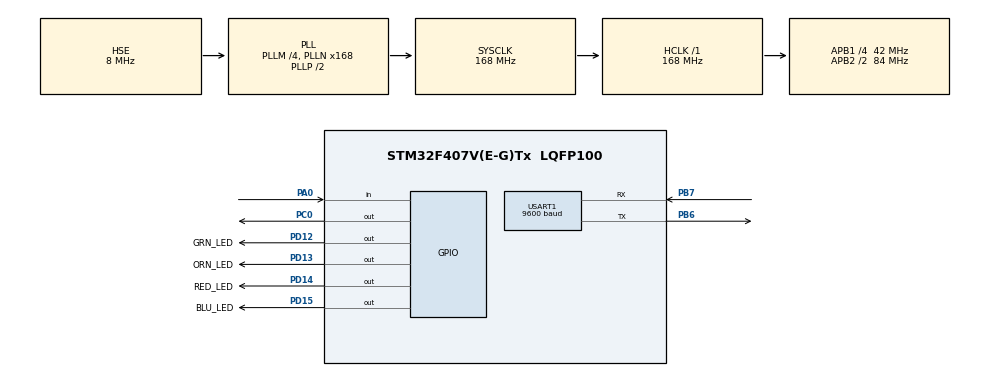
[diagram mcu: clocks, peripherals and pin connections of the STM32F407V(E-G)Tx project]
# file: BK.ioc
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Mcu.Family=STM32F4
Mcu.Name=STM32F407V(E-G)Tx
Mcu.Package=LQFP100
NVIC.PriorityGroup=NVIC_PRIORITYGROUP_0
NVIC.TIM2_IRQn=true\:0\:0\:false\:false\:true\:true\:true
NVIC.USART1_IRQn=true\:0\:0\:false\:false\:true\:true\:true
PA0-WKUP.Signal=GPIO_Input
PA13.Mode=Serial_Wire
PA13.Signal=SYS_JTMS-SWDIO
PA14.Mode=Serial_Wire
PA14.Signal=SYS_JTCK-SWCLK
PB6.Mode=Asynchronous
PB6.Signal=USART1_TX
PB7.Mode=Asynchronous
PB7.Signal=USART1_RX
PC0.Signal=GPIO_Output
PD12.GPIO_Label=GRN_LED
PD12.Signal=GPIO_Output
PD13.GPIO_Label=ORN_LED
PD13.Signal=GPIO_Output
PD14.GPIO_Label=RED_LED
PD14.Signal=GPIO_Output
PD15.GPIO_Label=BLU_LED
PD15.Signal=GPIO_Output
PH0-OSC_IN.Mode=HSE-External-Oscillator
PH0-OSC_IN.Signal=RCC_OSC_IN
PH1-OSC_OUT.Mode=HSE-External-Oscillator
PH1-OSC_OUT.Signal=RCC_OSC_OUT
ProjectManager.HeapSize=0x200
ProjectManager.StackSize=0x400
ProjectManager.TargetToolchain=STM32CubeIDE
RCC.48MHZClocksFreq_Value=48000000
RCC.AHBFreq_Value=168000000
RCC.APB1CLKDivider=RCC_HCLK_DIV4
RCC.APB1Freq_Value=42000000
RCC.APB1TimFreq_Value=84000000
RCC.APB2CLKDivider=RCC_HCLK_DIV2
RCC.APB2Freq_Value=84000000
RCC.APB2TimFreq_Value=168000000
RCC.CortexFreq_Value=168000000
RCC.HCLKFreq_Value=168000000
RCC.HSE_VALUE=8000000
RCC.HSI_VALUE=16000000
RCC.LSE_VALUE=32768
RCC.PLLM=4
RCC.PLLN=168
RCC.PLLQ=7
RCC.PLLSourceVirtual=RCC_PLLSOURCE_HSE
RCC.SYSCLKFreq_VALUE=168000000
RCC.SYSCLKSource=RCC_SYSCLKSOURCE_PLLCLK
RCC.VCOOutputFreq_Value=336000000
TIM2.Period=1
TIM2.Prescaler=42000
USART1.BaudRate=9600
USART1.VirtualMode=VM_ASYNC
VP_TIM2_VS_ClockSourceINT.Mode=Internal
board=STM32F407G-DISC1

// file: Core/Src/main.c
/* USER CODE BEGIN Header */
/**
  ******************************************************************************
  * @file           : main.c
  * @brief          : Main program body
  ******************************************************************************
  * @attention
  *
  * <h2><center>&copy; Copyright (c) 2020 STMicroelectronics.
  * All rights reserved.</center></h2>
  *
  * This software component is licensed by ST under Ultimate Liberty license
  * SLA0044, the "License"; You may not use this file except in compliance with
  * the License. You may obtain a copy of the License at:
  *                             www.st.com/SLA0044
  *
  ******************************************************************************
  */
/* USER CODE END Header */
#include "main.h"

TIM_HandleTypeDef htim2;

UART_HandleTypeDef huart1;

/* USER CODE BEGIN PV */

//------------------------------------------------------------------------------------- Utility Timer Variables:
uint16_t	B1dbTimer;
uint8_t 	B1Pressed_F;
uint8_t 	B1ActionTaken_F;
uint16_t	B1HoldTime;

// msec Timing:  Make utility timers 16-bit
uint16_t TestTimer;

// sec Timing:
uint16_t SecsCounter;

// Aging timers

//------------------------------------------------------------------------------------- UART variables
uint8_t U1_RxChar;												// Single byte received in interrupt

/* USER CODE END PV */

void SystemClock_Config(void);
static void MX_GPIO_Init(void);
static void MX_TIM2_Init(void);
static void MX_USART1_UART_Init(void);
/* USER CODE BEGIN PFP */

void CheckSWs(void);

/* USER CODE END PFP */

int main(void)
{
  /* USER CODE BEGIN 1 */

	LED_State = LED_IDLE;

  /* USER CODE END 1 */

  /* MCU Configuration--------------------------------------------------------*/

  /* Reset of all peripherals, Initializes the Flash interface and the Systick. */
  HAL_Init();

  /* Configure the system clock */
  SystemClock_Config();

  /* Initialize all configured peripherals */
  MX_GPIO_Init();
  MX_TIM2_Init();
  MX_USART1_UART_Init();
  /* USER CODE BEGIN 2 */

  HAL_TIM_Base_Start_IT(&htim2);				// Starts timer interrupt - nothing happens w/o this
  USART1->CR1 |= 1<<5;//USART1_CR1_RE;  // Enable RXNE interrupt (receiver not empty)

  /* USER CODE END 2 */

  /* Infinite loop */
  while (1)
  {

    /* USER CODE BEGIN 3 */
    //  -----------------------------------------------------------------------------------------------USER MAIN LOOP:
    // Main Loop:

		// Check for character and send message
		if( !TestTimer )
		{
			TestTimer = 1000;
			if (U1_RxChar == 'A')
				HAL_UART_Transmit(&huart1, (uint8_t*) "A-Test\r\n", 8, 100);  // Send msg
			else if (U1_RxChar == 'B')
				HAL_UART_Transmit(&huart1, (uint8_t*) "B-Test\r\n", 8, 100);  // Send msg
			else
				HAL_UART_Transmit(&huart1, (uint8_t*) "Enter A or B\r\n", 14, 100);  // Send msg
		}

		CheckSWs();
		UpdateLEDstate();

  } //  -----------------------------------------------------------------------------------------------END MAIN LOOP:
  /* USER CODE END 3 */
}

void SystemClock_Config(void)
{
  RCC_OscInitTypeDef RCC_OscInitStruct = {0};
  RCC_ClkInitTypeDef RCC_ClkInitStruct = {0};

  /** Configure the main internal regulator output voltage
  */
  __HAL_RCC_PWR_CLK_ENABLE();
  __HAL_PWR_VOLTAGESCALING_CONFIG(PWR_REGULATOR_VOLTAGE_SCALE1);
  /** Initializes the RCC Oscillators according to the specified parameters
  * in the RCC_OscInitTypeDef structure.
  */
  RCC_OscInitStruct.OscillatorType = RCC_OSCILLATORTYPE_HSE;
  RCC_OscInitStruct.HSEState = RCC_HSE_ON;
  RCC_OscInitStruct.PLL.PLLState = RCC_PLL_ON;
  RCC_OscInitStruct.PLL.PLLSource = RCC_PLLSOURCE_HSE;
  RCC_OscInitStruct.PLL.PLLM = 4;
  RCC_OscInitStruct.PLL.PLLN = 168;
  RCC_OscInitStruct.PLL.PLLP = RCC_PLLP_DIV2;
  RCC_OscInitStruct.PLL.PLLQ = 7;
  if (HAL_RCC_OscConfig(&RCC_OscInitStruct) != HAL_OK)
  {
    Error_Handler();
  }
  /** Initializes the CPU, AHB and APB buses clocks
  */
  RCC_ClkInitStruct.ClockType = RCC_CLOCKTYPE_HCLK|RCC_CLOCKTYPE_SYSCLK
                              |RCC_CLOCKTYPE_PCLK1|RCC_CLOCKTYPE_PCLK2;
  RCC_ClkInitStruct.SYSCLKSource = RCC_SYSCLKSOURCE_PLLCLK;
  RCC_ClkInitStruct.AHBCLKDivider = RCC_SYSCLK_DIV1;
  RCC_ClkInitStruct.APB1CLKDivider = RCC_HCLK_DIV4;
  RCC_ClkInitStruct.APB2CLKDivider = RCC_HCLK_DIV2;

  if (HAL_RCC_ClockConfig(&RCC_ClkInitStruct, FLASH_LATENCY_5) != HAL_OK)
  {
    Error_Handler();
  }
}

static void MX_TIM2_Init(void)
{

  TIM_ClockConfigTypeDef sClockSourceConfig = {0};
  TIM_MasterConfigTypeDef sMasterConfig = {0};

  htim2.Instance = TIM2;
  htim2.Init.Prescaler = 42000;
  htim2.Init.CounterMode = TIM_COUNTERMODE_UP;
  htim2.Init.Period = 1;
  htim2.Init.ClockDivision = TIM_CLOCKDIVISION_DIV1;
  htim2.Init.AutoReloadPreload = TIM_AUTORELOAD_PRELOAD_DISABLE;
  if (HAL_TIM_Base_Init(&htim2) != HAL_OK)
  {
    Error_Handler();
  }
  sClockSourceConfig.ClockSource = TIM_CLOCKSOURCE_INTERNAL;
  if (HAL_TIM_ConfigClockSource(&htim2, &sClockSourceConfig) != HAL_OK)
  {
    Error_Handler();
  }
  sMasterConfig.MasterOutputTrigger = TIM_TRGO_RESET;
  sMasterConfig.MasterSlaveMode = TIM_MASTERSLAVEMODE_DISABLE;
  if (HAL_TIMEx_MasterConfigSynchronization(&htim2, &sMasterConfig) != HAL_OK)
  {
    Error_Handler();
  }

}

static void MX_USART1_UART_Init(void)
{

  huart1.Instance = USART1;
  huart1.Init.BaudRate = 9600;
  huart1.Init.WordLength = UART_WORDLENGTH_8B;
  huart1.Init.StopBits = UART_STOPBITS_1;
  huart1.Init.Parity = UART_PARITY_NONE;
  huart1.Init.Mode = UART_MODE_TX_RX;
  huart1.Init.HwFlowCtl = UART_HWCONTROL_NONE;
  huart1.Init.OverSampling = UART_OVERSAMPLING_16;
  if (HAL_UART_Init(&huart1) != HAL_OK)
  {
    Error_Handler();
  }

}

static void MX_GPIO_Init(void)
{
  GPIO_InitTypeDef GPIO_InitStruct = {0};

  /* GPIO Ports Clock Enable */
  __HAL_RCC_GPIOH_CLK_ENABLE();
  __HAL_RCC_GPIOC_CLK_ENABLE();
  __HAL_RCC_GPIOA_CLK_ENABLE();
  __HAL_RCC_GPIOD_CLK_ENABLE();
  __HAL_RCC_GPIOB_CLK_ENABLE();

  /*Configure GPIO pin Output Level */
  HAL_GPIO_WritePin(GPIOC, GPIO_PIN_0, GPIO_PIN_RESET);

  /*Configure GPIO pin Output Level */
  HAL_GPIO_WritePin(GPIOD, GRN_LED_Pin|ORN_LED_Pin|RED_LED_Pin|BLU_LED_Pin, GPIO_PIN_RESET);

  /*Configure GPIO pin : PC0 */
  GPIO_InitStruct.Pin = GPIO_PIN_0;
  GPIO_InitStruct.Mode = GPIO_MODE_OUTPUT_PP;
  GPIO_InitStruct.Pull = GPIO_NOPULL;
  GPIO_InitStruct.Speed = GPIO_SPEED_FREQ_LOW;
  HAL_GPIO_Init(GPIOC, &GPIO_InitStruct);

  /*Configure GPIO pin : PA0 */
  GPIO_InitStruct.Pin = GPIO_PIN_0;
  GPIO_InitStruct.Mode = GPIO_MODE_INPUT;
  GPIO_InitStruct.Pull = GPIO_NOPULL;
  HAL_GPIO_Init(GPIOA, &GPIO_InitStruct);

  /*Configure GPIO pins : GRN_LED_Pin ORN_LED_Pin RED_LED_Pin BLU_LED_Pin */
  GPIO_InitStruct.Pin = GRN_LED_Pin|ORN_LED_Pin|RED_LED_Pin|BLU_LED_Pin;
  GPIO_InitStruct.Mode = GPIO_MODE_OUTPUT_PP;
  GPIO_InitStruct.Pull = GPIO_NOPULL;
  GPIO_InitStruct.Speed = GPIO_SPEED_FREQ_LOW;
  HAL_GPIO_Init(GPIOD, &GPIO_InitStruct);

}

/* USER CODE BEGIN 4 */

//------------------------------------------------------------------------
//
//      Function: CheckSWs()
//
//			This function checks the status of switches and provides
//      for initiating action upon both press and release.
//
//------------------------------------------------------------------------
void CheckSWs(void)
{

  // IF B1 pressed THEN   --------------------------------------------------SW1 Test
  if ( B1Pressed_F && (!B1ActionTaken_F) )
  {

    // Take PRESS action here

  	LED_Start = TRUE;				// Tell state machine to start running
  	LED_Timer = 1000;       // Set timer to 1000 ms

		// Set action taken flag so this won't keep happening
    B1ActionTaken_F = TRUE;

  // ELSE IF SW released THEN
  }
  else if ( !B1Pressed_F && (B1ActionTaken_F) )
  {

    // Take RELEASE action here

    B1ActionTaken_F = FALSE;

  // END IF
  }
}

//------------------------------------------------------------------------
//
//      Function: UpdateLEDstate()
//
//
//------------------------------------------------------------------------
void UpdateLEDstate(void)
{

	// Place "always" code here then check each state

	if( LED_State == LED_IDLE )                              //---------------------------------- LED_IDLE
	{
		if(LED_Start)    // (B1 was pressed...set in CheckSWs()
		{
			LED_Start = FALSE;
			RED_LED_ON();
			LED_State = LED_RED;
			LED_Timer = 1000;
		}
	}
	else if( LED_State == LED_RED )                          //---------------------------------- LED_RED
	{
		if(!LED_Timer)
		{
			RED_LED_OFF();
			BLU_LED_ON();
			LED_State = LED_BLU;
			LED_Timer = 1000;
		}
	}
	else if ( LED_State == LED_BLU )                         //---------------------------------- LED_BLU
	{
		if(!LED_Timer)
		{
			BLU_LED_OFF();
			GRN_LED_ON();
			LED_State = LED_GRN;
			LED_Timer = 1000;
		}
	}
	else if( LED_State == LED_GRN )                          //---------------------------------- LED_GRN
	{
		if(!LED_Timer)
		{
			GRN_LED_OFF();
			ORN_LED_ON();
			LED_State = LED_ORN;
			LED_Timer = 1000;
		}
	}
	else if ( LED_State == LED_ORN )                         //---------------------------------- LED_ORN
	{
		if(!LED_Timer)
		{
			ORN_LED_OFF();
			LED_State = LED_IDLE;
		}
	}
}

//------------------------------------------------------------------------------------------------
// Interrupts:
//------------------------------------------------------------------------------------------------

// Use TIM2 as 1ms utility timer...
void HAL_TIM_PeriodElapsedCallback(TIM_HandleTypeDef *htim)
{
  //-------------------------------------------------
	// Millisecond timers:
  //-------------------------------------------------

 	// These 16-bit timers can be disabled... Set the timer to TIMER_DISABLE (Defined as 0xFFFFFF) and they will not operate
	if ( (TestTimer) && (TestTimer < TIMER_DISABLE) )
		TestTimer--;
	if ( (LED_Timer) && (LED_Timer < TIMER_DISABLE) )
		LED_Timer--;

  //-------------------------------------------------
	// Seconds counters:
  //-------------------------------------------------

  ++SecsCounter;
  if ( SecsCounter == 1000 )
  {
    SecsCounter = 0;

    // Handle any 1 sec events or counters...

  }

  //-------------------------------------------------
	// Switch test and debounce section:
  //-------------------------------------------------

  //-------------------------------------------------B1
  if ( B1 != BUTTON_PRESSED )
  {
    B1dbTimer = 0;									// Clear debounce timer
    B1Pressed_F = FALSE;						// Clear the SW pressed _F
  }
  else
  {
		if ( B1dbTimer < 255 )					// Increment db timer (up to max)
			++B1dbTimer;
		if ( B1dbTimer > DB_TIME )				// If debounced, set Flag
			B1Pressed_F = TRUE;
  }
}

/* USER CODE END 4 */

void Error_Handler(void)
{
}

/************************ (C) COPYRIGHT STMicroelectronics *****END OF FILE****/
